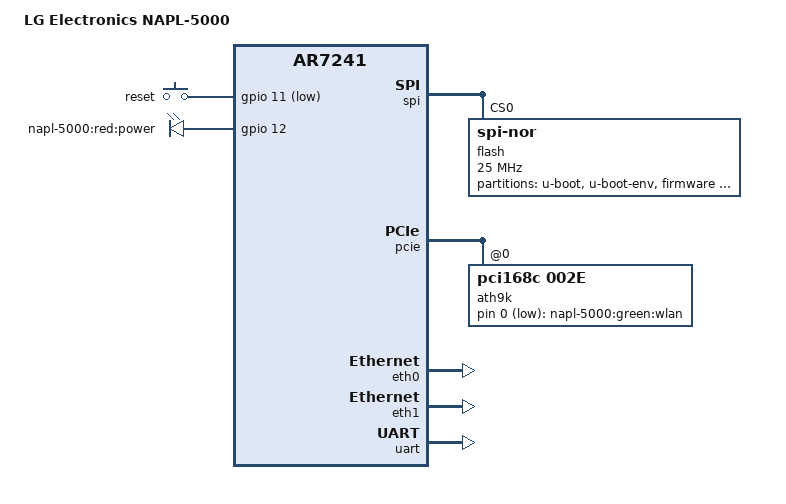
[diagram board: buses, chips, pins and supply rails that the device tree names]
// SPDX-License-Identifier: GPL-2.0-or-later OR MIT
/dts-v1/;

#include <dt-bindings/gpio/gpio.h>
#include <dt-bindings/input/input.h>

#include "ar7241.dtsi"

/ {
	compatible = "lge,napl-5000", "qca,ar7241";
	model = "LG Electronics NAPL-5000";

	aliases {
		led-boot = &led_power;
		led-failsafe = &led_power;
		led-running = &led_power;
		led-upgrade = &led_power;
		label-mac-device = &eth0;
	};

	keys {
		compatible = "gpio-keys";

		reset {
			label = "reset";
			linux,code = <KEY_RESTART>;
			gpios = <&gpio 11 GPIO_ACTIVE_LOW>;
			debounce-interval = <60>;
		};
	};

	gpio-leds {
		compatible = "gpio-leds";

		led_power: power {
			label = "napl-5000:red:power";
			gpios = <&gpio 12 GPIO_ACTIVE_HIGH>;
		};
	};

	ath9k-leds {
		compatible = "gpio-leds";

		wlan {
			label = "napl-5000:green:wlan";
			gpios = <&ath9k 0 GPIO_ACTIVE_LOW>;
			linux,default-trigger = "phy0tpt";
		};
	};
};

&spi {
	status = "okay";
	num-cs = <1>;

	flash@0 {
		compatible = "jedec,spi-nor";
		reg = <0>;
		spi-max-frequency = <25000000>;

		partitions {
			compatible = "fixed-partitions";
			#address-cells = <1>;
			#size-cells = <1>;

			partition@0 {
				reg = <0x0 0x40000>;
				label = "u-boot";
				read-only;
			};

			partition@40000 {
				reg = <0x40000 0x10000>;
				label = "u-boot-env";
			};

			partition@50000 {
				reg = <0x50000 0x7a0000>;
				label = "firmware";

				compatible = "fixed-partitions";
				#address-cells = <1>;
				#size-cells = <1>;

				partition@0 {
					reg = <0x0 0x200000>;
					label = "kernel";
				};

				partition@400000 {
					reg = <0x200000 0x5a0000>;
					label = "rootfs";
				};
			};

			art: partition@7f0000 {
				reg = <0x7f0000 0x10000>;
				label = "art";
				read-only;
			};
		};
	};
};

&pcie {
	status = "okay";

	ath9k: wifi@0,0 {
		compatible = "pci168c,002e";
		reg = <0x0000 0 0 0 0>;
		qca,no-eeprom;
		#gpio-cells = <2>;
		gpio-controller;
	};
};

&eth0 {
	status = "okay";

	mtd-mac-address = <&art 0x110c>;
	mtd-mac-address-increment = <3>;
};

&eth1 {
	status = "okay";

	mtd-mac-address = <&art 0x110c>;
};

&gpio {
	status = "okay";
};

&uart {
	status = "okay";
};
